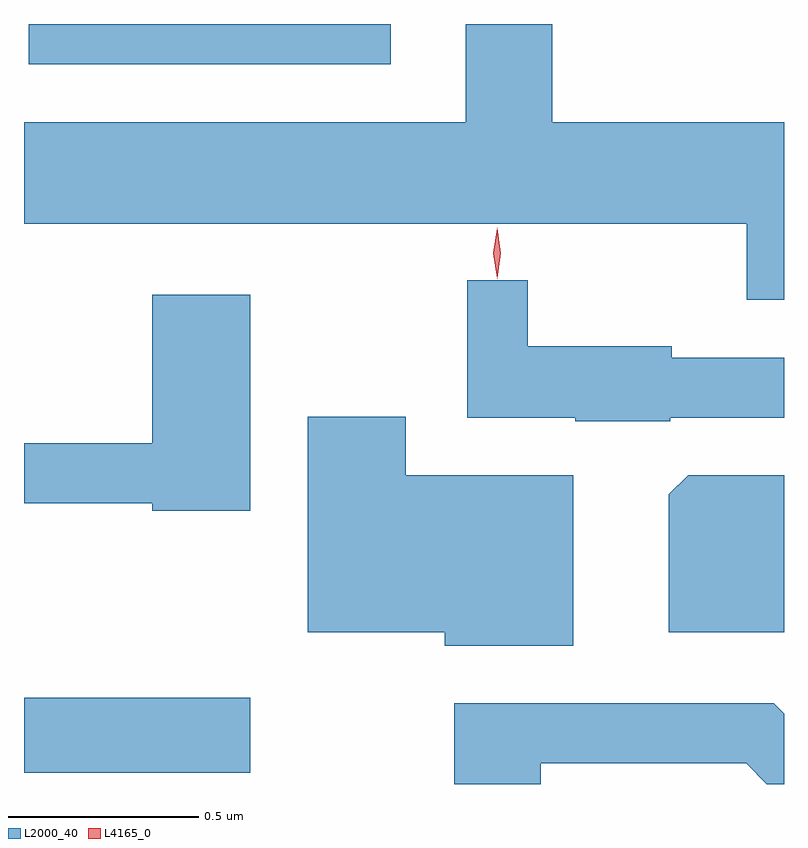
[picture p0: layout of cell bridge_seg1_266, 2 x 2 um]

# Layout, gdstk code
import gdstk
lib = gdstk.Library(unit=1e-6, precision=1e-09)
def R(c, l, rs):  # rectangles x0, y0, x1, y1
    for r in rs: c.add(gdstk.rectangle(r[:2], r[2:], *l))
def P(c, l, *ps):  # polygons
    for p in ps: c.add(gdstk.Polygon(p, *l))
L2000_40 = (2000, 40)
L4165_0 = (4165, 0)

bridge_seg1_266 = lib.new_cell('bridge_seg1_266')
R(bridge_seg1_266, L2000_40, [(949.749,884.811,950.344,885.009), (949.761,886.676,950.714,886.782)])
P(bridge_seg1_266, L2000_40, [(951.749,886.524),(951.139,886.524),(951.139,886.782),(950.911,886.782),(950.911,886.524),(949.749,886.524),(949.749,886.256),(951.651,886.256),(951.651,886.056),(951.749,886.056)],
  [(951.45,885.746),(951.749,885.746),(951.749,885.904),(951.454,885.904),(951.454,885.934),(951.074,885.934),(951.074,886.108),(950.916,886.108),(950.916,885.746),(951.2,885.746),(951.2,885.736),(951.45,885.736)],
  [(950.344,886.069),(950.086,886.069),(950.086,885.679),(949.749,885.679),(949.749,885.521),(950.086,885.521),(950.086,885.501),(950.344,885.501)],
  [(951.194,885.594),(950.754,885.594),(950.754,885.749),(950.496,885.749),(950.496,885.181),(950.856,885.181),(950.856,885.146),(951.194,885.146)],
  [(951.749,885.594),(951.497,885.594),(951.446,885.544),(951.446,885.181),(951.749,885.181)],
  [(951.109,884.836),(951.649,884.836),(951.703,884.782),(951.749,884.782),(951.749,884.967),(951.722,884.994),(950.881,884.994),(950.881,884.782),(951.109,884.782)])
P(bridge_seg1_266, L4165_0, [(950.994,886.112),(950.994,886.113),(950.984,886.179),(950.994,886.245),(950.994,886.246),(950.995,886.245),(951.004,886.179),(950.995,886.113)])

lib.write_gds('bridge_seg1_266.gds')
